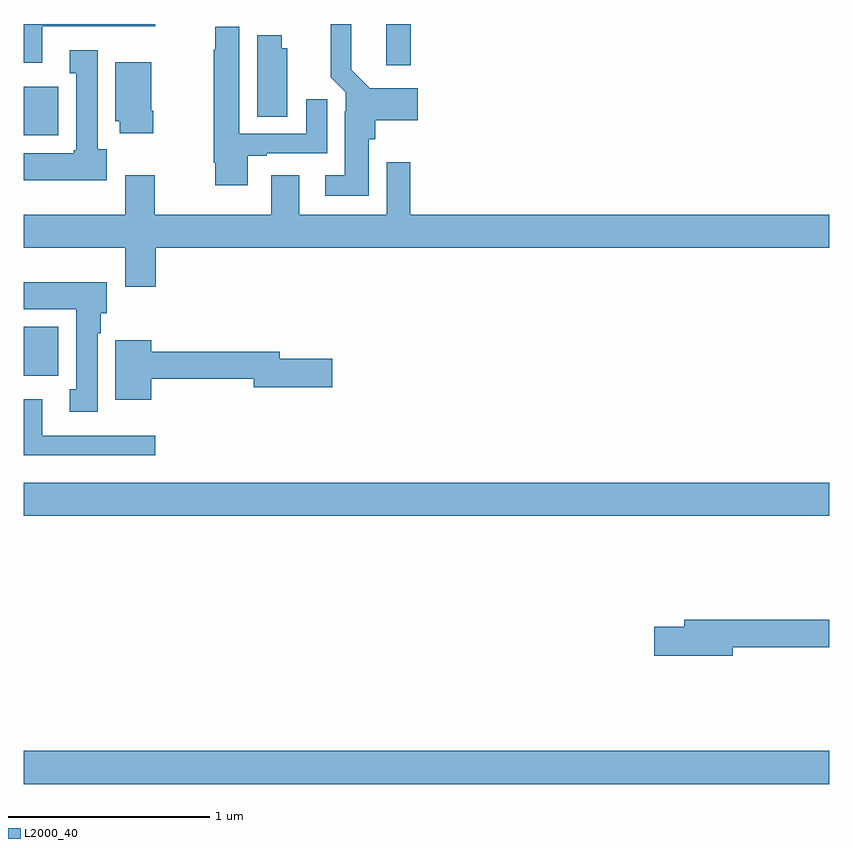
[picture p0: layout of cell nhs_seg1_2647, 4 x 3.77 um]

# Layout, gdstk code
import gdstk
lib = gdstk.Library(unit=1e-6, precision=1e-09)
def R(c, l, rs):  # rectangles x0, y0, x1, y1
    for r in rs: c.add(gdstk.rectangle(r[:2], r[2:], *l))
def P(c, l, *ps):  # polygons
    for p in ps: c.add(gdstk.Polygon(p, *l))
L2000_40 = (2000, 40)

nhs_seg1_2647 = lib.new_cell('nhs_seg1_2647')
R(nhs_seg1_2647, L2000_40, [(255,526.424,259,526.588), (255,527.756,259,527.92), (255,528.452,255.172,528.694), (255,529.646,255.172,529.888), (256.799,529.995,256.922,530.199)])
P(nhs_seg1_2647, L2000_40, [(256.714,529.626),(256.745,529.626),(256.745,529.721),(256.957,529.721),(256.957,529.879),(256.719,529.879),(256.627,529.972),(256.627,530.199),(256.525,530.199),(256.525,529.934),(256.599,529.86),(256.599,529.766),(256.595,529.766),(256.595,529.447),(256.497,529.447),(256.497,529.346),(256.714,529.346)],
  [(255.091,530.187),(255.652,530.187),(255.652,530.199),(255,530.199),(255,530.006),(255.091,530.006)],
  [(256.111,529.545),(256.207,529.545),(256.207,529.557),(256.507,529.557),(256.507,529.825),(256.403,529.825),(256.403,529.653),(256.069,529.653),(256.069,530.185),(255.95,530.185),(255.95,530.072),(255.943,530.072),(255.943,529.51),(255.95,529.51),(255.95,529.398),(256.111,529.398)],
  [(256.309,530.079),(256.282,530.079),(256.282,530.143),(256.16,530.143),(256.16,529.738),(256.309,529.738)],
  [(255.412,529.578),(255.367,529.578),(255.367,530.068),(255.227,530.068),(255.227,529.955),(255.26,529.955),(255.26,529.572),(255.247,529.572),(255.247,529.558),(255,529.558),(255,529.424),(255.412,529.424)],
  [(255.642,529.768),(255.634,529.768),(255.634,530.008),(255.455,530.008),(255.455,529.716),(255.476,529.716),(255.476,529.656),(255.642,529.656)],
  [(255.656,529.088),(259,529.088),(259,529.252),(256.919,529.252),(256.919,529.513),(256.803,529.513),(256.803,529.252),(256.369,529.252),(256.369,529.447),(256.229,529.447),(256.229,529.252),(255.651,529.252),(255.651,529.447),(255.503,529.447),(255.503,529.252),(255,529.252),(255,529.088),(255.503,529.088),(255.503,528.894),(255.656,528.894)],
  [(255.367,528.662),(255.382,528.662),(255.382,528.762),(255.412,528.762),(255.412,528.916),(255,528.916),(255,528.782),(255.26,528.782),(255.26,528.386),(255.227,528.386),(255.227,528.273),(255.367,528.273)],
  [(255.634,528.436),(256.142,528.436),(256.142,528.394),(256.531,528.394),(256.531,528.536),(256.27,528.536),(256.27,528.572),(255.634,528.572),(255.634,528.628),(255.455,528.628),(255.455,528.332),(255.634,528.332)],
  [(255.652,528.153),(255.091,528.153),(255.091,528.334),(255,528.334),(255,528.056),(255.652,528.056)],
  [(258.52,527.104),(259,527.104),(259,527.24),(258.281,527.24),(258.281,527.204),(258.132,527.204),(258.132,527.062),(258.52,527.062)])

lib.write_gds('nhs_seg1_2647.gds')
